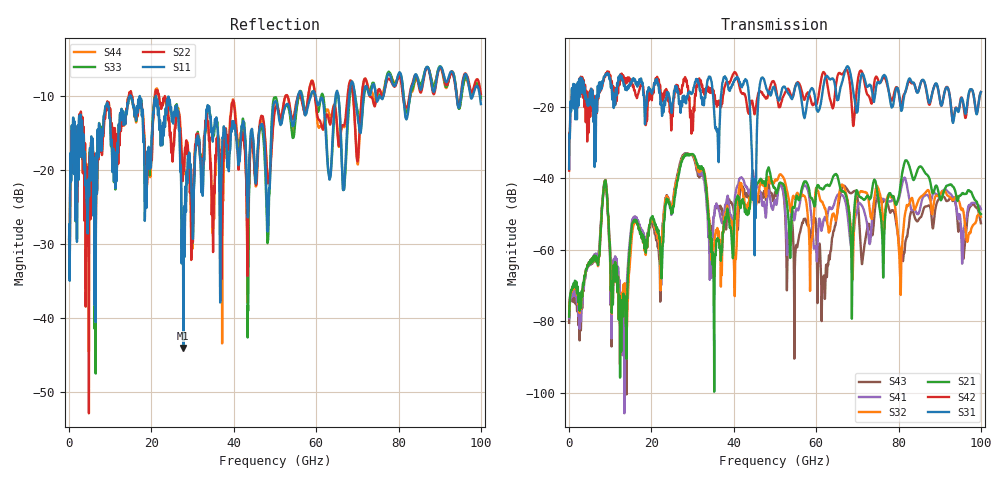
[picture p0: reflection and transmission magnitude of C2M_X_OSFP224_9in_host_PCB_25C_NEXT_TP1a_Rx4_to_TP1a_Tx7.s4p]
# GHz S RI R 45
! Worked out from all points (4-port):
!   4000 points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, 25 MHz to 100 GHz, reference 45 ohm
!   strongest paths, dB at 25 MHz, 25.02 GHz, 50.02 GHz, 75.03 GHz, 100 GHz:
!     S31: -37.4, -20.7, -15.2, -13.2, -16.0
!     S42: -37.9, -22.2, -13.8, -12.5, -15.9
!     S21: -78.7, -49.0, -42.7, -45.3, -50.1
!     S32: -78.0, -47.9, -40.5, -42.7, -50.8
!     S41: -79.2, -49.0, -46.1, -46.3, -48.7
!     S43: -80.4, -47.7, -43.9, -44.5, -52.6
!   lowest |S11| = -44.1 dB at 27.75 GHz (marker M1), VSWR 1.01, Z = 45.5 + j0.326 ohm
!   |S11| at or under -10 dB: start of sweep to 14.74 GHz; 24.13 GHz to 55.6 GHz (31.47 GHz wide, 79 % of centre); 59.89 GHz to 64.7 GHz (4.807 GHz wide, 7.72 % of centre) (the widest 3 of 16)
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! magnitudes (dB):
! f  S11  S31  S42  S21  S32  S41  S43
! 25 MHz  -29.2  -37.4  -37.9  -78.7  -78.0  -79.2  -80.4
! 27.75 GHz  -44.1  -18.6  -13.1  -34.4  -34.1  -34.0  -33.6
! 35.2 GHz  -14.3  -20.6  -16.9  -85.0  -58.9  -50.7  -50.7
! 43.02 GHz  -18.9  -12.8  -18.5  -50.1  -49.0  -42.5  -45.2
! 44.98 GHz  -18.4  -42.8  -22.0  -43.2  -48.6  -41.3  -45.6
! 48.45 GHz  -25.4  -16.4  -16.2  -37.0  -39.7  -43.5  -41.7
! 100 GHz  -11.0  -16.0  -15.9  -50.1  -50.8  -48.7  -52.6
